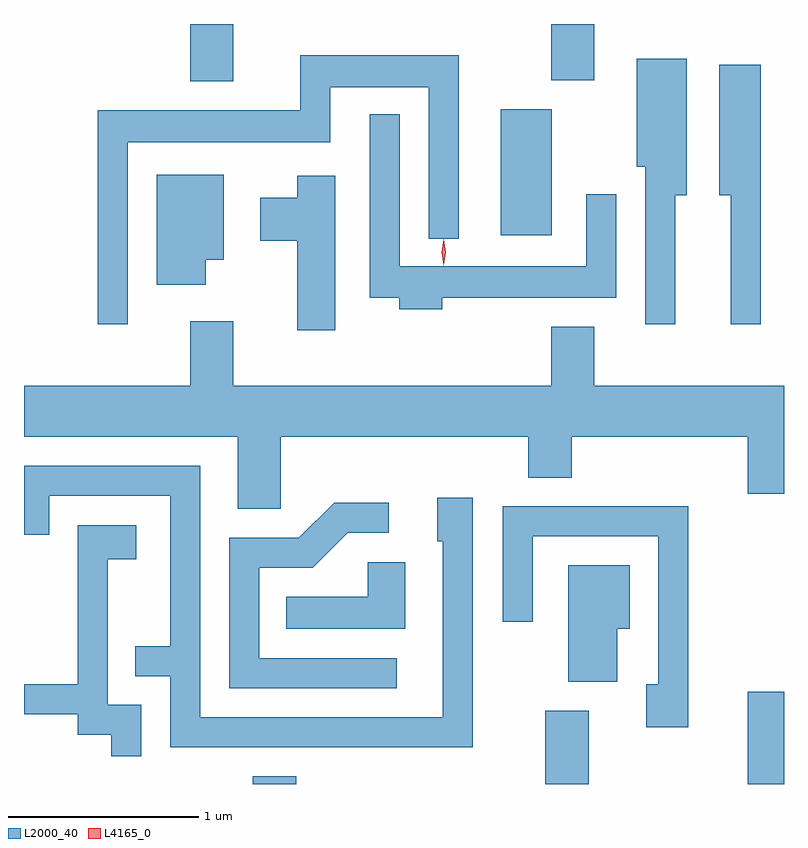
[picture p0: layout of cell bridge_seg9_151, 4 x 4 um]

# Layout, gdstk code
import gdstk
lib = gdstk.Library(unit=1e-6, precision=1e-09)
def R(c, l, rs):  # rectangles x0, y0, x1, y1
    for r in rs: c.add(gdstk.rectangle(r[:2], r[2:], *l))
def P(c, l, *ps):  # polygons
    for p in ps: c.add(gdstk.Polygon(p, *l))
L2000_40 = (2000, 40)
L4165_0 = (4165, 0)

bridge_seg9_151 = lib.new_cell('bridge_seg9_151')
R(bridge_seg9_151, L2000_40, [(1391.291,2069.908,1391.519,2069.949), (1392.831,2069.908,1393.059,2070.294), (1393.896,2069.908,1394.087,2070.394), (1392.596,2072.796,1392.864,2073.459), (1390.961,2073.606,1391.189,2073.908), (1392.861,2073.611,1393.089,2073.908)])
P(bridge_seg9_151, L2000_40, [(1390.634,2073.286),(1391.699,2073.286),(1391.699,2073.576),(1392.216,2073.576),(1392.216,2072.778),(1392.374,2072.778),(1392.374,2073.744),(1391.541,2073.744),(1391.541,2073.454),(1390.476,2073.454),(1390.476,2072.327),(1390.634,2072.327)],
  [(1393.514,2073.006),(1393.574,2073.006),(1393.574,2073.724),(1393.311,2073.724),(1393.311,2073.156),(1393.356,2073.156),(1393.356,2072.327),(1393.514,2072.327)],
  [(1393.964,2073.694),(1393.746,2073.694),(1393.746,2073.006),(1393.806,2073.006),(1393.806,2072.327),(1393.964,2072.327)],
  [(1392.289,2072.466),(1393.204,2072.466),(1393.204,2073.012),(1393.046,2073.012),(1393.046,2072.634),(1392.064,2072.634),(1392.064,2073.433),(1391.906,2073.433),(1391.906,2072.466),(1392.061,2072.466),(1392.061,2072.406),(1392.289,2072.406)],
  [(1391.044,2072.666),(1391.139,2072.666),(1391.139,2073.114),(1390.786,2073.114),(1390.786,2072.536),(1391.044,2072.536)],
  [(1391.724,2073.109),(1391.526,2073.109),(1391.526,2072.994),(1391.331,2072.994),(1391.331,2072.766),(1391.526,2072.766),(1391.526,2072.296),(1391.724,2072.296)],
  [(1391.439,2071.736),(1392.741,2071.736),(1392.741,2071.521),(1392.969,2071.521),(1392.969,2071.736),(1393.896,2071.736),(1393.896,2071.436),(1394.087,2071.436),(1394.087,2072.004),(1393.089,2072.004),(1393.089,2072.314),(1392.861,2072.314),(1392.861,2072.004),(1391.189,2072.004),(1391.189,2072.344),(1390.961,2072.344),(1390.961,2072.004),(1390.087,2072.004),(1390.087,2071.736),(1391.211,2071.736),(1391.211,2071.356),(1391.439,2071.356)],
  [(1392.449,2071.414),(1392.261,2071.414),(1392.261,2071.186),(1392.291,2071.186),(1392.291,2070.259),(1391.014,2070.259),(1391.014,2071.584),(1390.087,2071.584),(1390.087,2071.221),(1390.219,2071.221),(1390.219,2071.426),(1390.856,2071.426),(1390.856,2070.634),(1390.673,2070.634),(1390.673,2070.476),(1390.856,2070.476),(1390.856,2070.101),(1392.449,2070.101)],
  [(1392.048,2070.569),(1391.324,2070.569),(1391.324,2071.046),(1391.607,2071.046),(1391.792,2071.231),(1392.008,2071.231),(1392.008,2071.389),(1391.719,2071.389),(1391.534,2071.204),(1391.166,2071.204),(1391.166,2070.411),(1392.048,2070.411)],
  [(1393.584,2071.369),(1392.606,2071.369),(1392.606,2070.762),(1392.764,2070.762),(1392.764,2071.211),(1393.426,2071.211),(1393.426,2070.434),(1393.361,2070.434),(1393.361,2070.206),(1393.584,2070.206)],
  [(1390.704,2070.324),(1390.529,2070.324),(1390.529,2071.091),(1390.679,2071.091),(1390.679,2071.269),(1390.371,2071.269),(1390.371,2070.434),(1390.087,2070.434),(1390.087,2070.276),(1390.371,2070.276),(1390.371,2070.166),(1390.546,2070.166),(1390.546,2070.053),(1390.704,2070.053)],
  [(1392.094,2071.074),(1391.896,2071.074),(1391.896,2070.894),(1391.468,2070.894),(1391.468,2070.726),(1392.094,2070.726)],
  [(1393.209,2070.726),(1393.274,2070.726),(1393.274,2071.059),(1392.951,2071.059),(1392.951,2070.446),(1393.209,2070.446)])
P(bridge_seg9_151, L4165_0, [(1392.295,2072.637),(1392.286,2072.707),(1392.295,2072.776),(1392.296,2072.776),(1392.296,2072.776),(1392.306,2072.707),(1392.296,2072.637),(1392.296,2072.637)],
  [(1392.295,2072.64),(1392.286,2072.706),(1392.295,2072.772),(1392.296,2072.773),(1392.296,2072.772),(1392.306,2072.706),(1392.296,2072.64),(1392.296,2072.64)])

lib.write_gds('bridge_seg9_151.gds')
